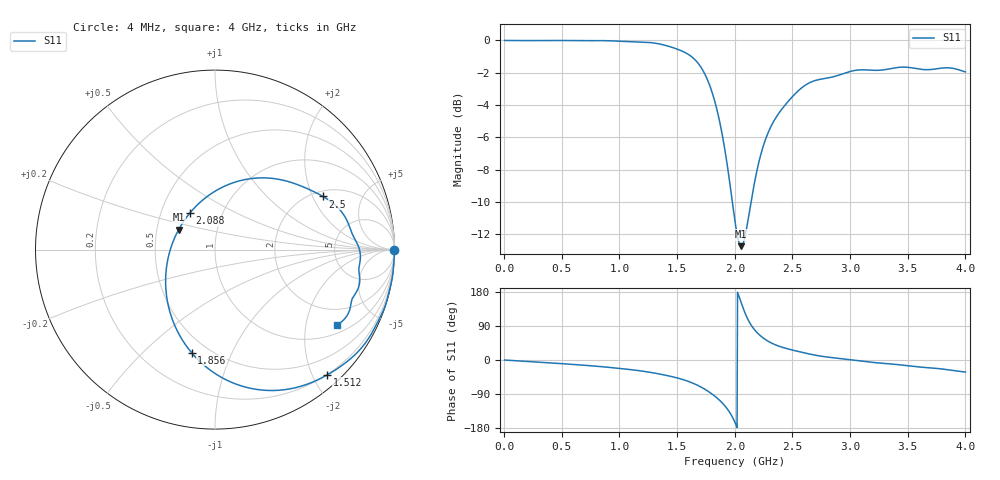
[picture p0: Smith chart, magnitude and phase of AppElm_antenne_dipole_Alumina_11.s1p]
! TOUCHSTONE file generated by CST MICROWAVE STUDIO
! Date and time: Sat May 14 11:42:20 2022
! Project name: AppElm_antenne_dipole_Alumina.cst
! Parameters = {L=41.25; e=0.035; f=2.45e+09; h=1.6; i=0.8; l1=2; lambda=122.449; ls=30; wl=1.7; ws=80}
! Header version: 2018
! Port assignment regex: !\s*Touchstone port\s*([0-9]+)\s*=\s*(CST MWS port|CST DS port)\s*([0-9]+|Zmin|Zmax)\s*\(\"(.*)\"\)(\s*mode\s*([0-9]+))?.*
! Touchstone port assignment:
! Touchstone port 1 = CST MWS port 1 ("")
# GHz S MA R 50
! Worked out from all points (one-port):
!   1000 points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, 4 MHz to 4 GHz, reference 50 ohm
!   lowest |S11| = -12.7 dB at 2.056 GHz (marker M1), VSWR 1.60, Z = 32.4 + j7.63 ohm
!   |S11| at or under -10 dB: 1.979 GHz to 2.141 GHz (161.6 MHz wide, 7.84 % of centre)
!   S11 on the Smith chart (normalised r, x): 4 MHz: open; 1.512 GHz: 0.19, -2.22; 1.856 GHz: 0.41, -0.71; 2.088 GHz: 0.70, +0.30; 2.5 GHz: 2.23, +2.40; 4 GHz: 1.29, -3.01
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0.004  1 -0.1
0.504  0.9997 -9.7
1.004  0.9943 -22.3
1.28  0.984 -33.3
1.396  0.966 -39.9
1.504  0.9393 -47.6
1.512  0.9369 -48.2
1.616  0.8961 -58.6
1.716  0.8166 -72.8
1.788  0.7174 -86.5
1.856  0.5886 -102.8
1.932  0.4182 -127.7
1.968  0.3389 -144.2
2.004  0.2729 -166.2
2.032  0.2402 172.0
2.056  0.2311 151.2
2.088  0.247 124.8
2.16  0.3461 84.3
2.232  0.4521 61.5
2.288  0.5173 49.8
2.348  0.5705 40.6
2.5  0.6703 26.2
2.504  0.6727 25.9
2.684  0.7491 13.5
3.004  0.8025 0.6
3.504  0.8258 -15.5
3.828  0.8231 -24.9
4  0.7993 -31.7
